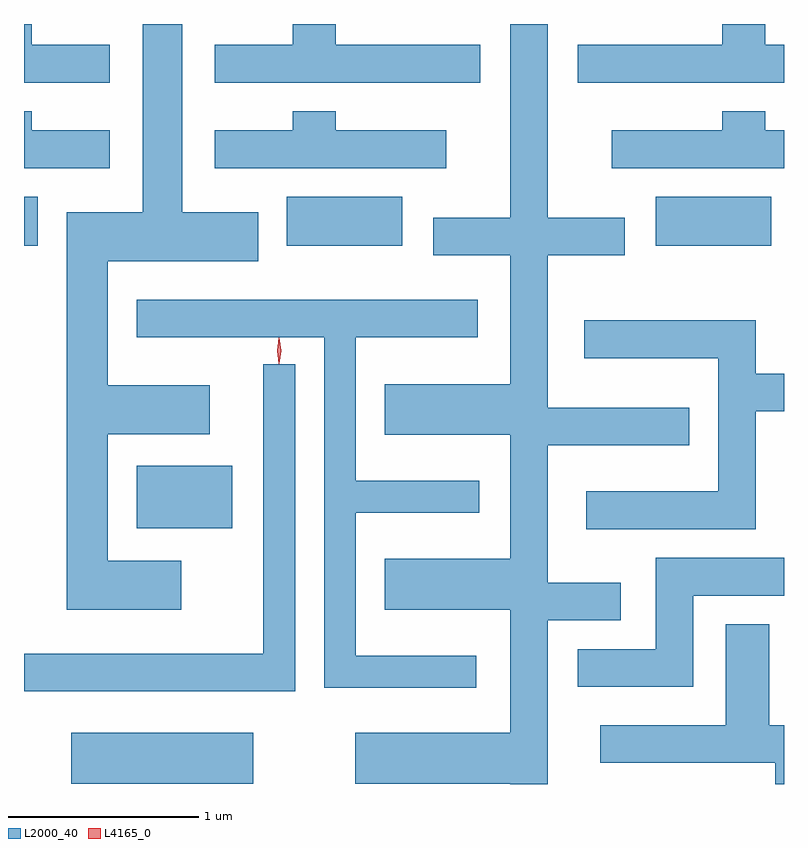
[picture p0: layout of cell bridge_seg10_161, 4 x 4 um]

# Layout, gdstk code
import gdstk
lib = gdstk.Library(unit=1e-6, precision=1e-09)
def R(c, l, rs):  # rectangles x0, y0, x1, y1
    for r in rs: c.add(gdstk.rectangle(r[:2], r[2:], *l))
def P(c, l, *ps):  # polygons
    for p in ps: c.add(gdstk.Polygon(p, *l))
L2000_40 = (2000, 40)
L4165_0 = (4165, 0)

bridge_seg10_161 = lib.new_cell('bridge_seg10_161')
R(bridge_seg10_161, L2000_40, [(1809.221,2139.966,1810.179,2140.234), (1809.566,2141.311,1810.069,2141.639), (1808.972,2142.796,1809.044,2143.054), (1810.356,2142.796,1810.964,2143.054), (1812.296,2142.796,1812.904,2143.054)])
P(bridge_seg10_161, L2000_40, [(1811.374,2143.854),(1810.614,2143.854),(1810.614,2143.964),(1810.386,2143.964),(1810.386,2143.854),(1809.976,2143.854),(1809.976,2143.656),(1811.374,2143.656)],
  [(1812.972,2143.854),(1812.874,2143.854),(1812.874,2143.964),(1812.646,2143.964),(1812.646,2143.854),(1811.886,2143.854),(1811.886,2143.656),(1812.972,2143.656)],
  [(1809.799,2141.139),(1809.414,2141.139),(1809.414,2141.806),(1809.949,2141.806),(1809.949,2142.064),(1809.414,2142.064),(1809.414,2142.716),(1810.204,2142.716),(1810.204,2142.974),(1809.804,2142.974),(1809.804,2143.964),(1809.596,2143.964),(1809.596,2142.974),(1809.196,2142.974),(1809.196,2140.881),(1809.799,2140.881)],
  [(1811.729,2140.826),(1812.114,2140.826),(1812.114,2141.024),(1811.729,2141.024),(1811.729,2141.746),(1812.474,2141.746),(1812.474,2141.944),(1811.729,2141.944),(1811.729,2142.746),(1812.134,2142.746),(1812.134,2142.944),(1811.729,2142.944),(1811.729,2143.964),(1811.531,2143.964),(1811.531,2142.944),(1811.126,2142.944),(1811.126,2142.746),(1811.531,2142.746),(1811.531,2142.069),(1810.871,2142.069),(1810.871,2141.801),(1811.531,2141.801),(1811.531,2141.149),(1810.871,2141.149),(1810.871,2140.881),(1811.531,2140.881),(1811.531,2140.234),(1810.716,2140.234),(1810.716,2139.966),(1811.531,2139.966),(1811.531,2139.964),(1811.729,2139.964)],
  [(1809.424,2143.854),(1809.014,2143.854),(1809.014,2143.964),(1808.972,2143.964),(1808.972,2143.656),(1809.424,2143.656)],
  [(1809.424,2143.404),(1809.014,2143.404),(1809.014,2143.504),(1808.972,2143.504),(1808.972,2143.206),(1809.424,2143.206)],
  [(1812.972,2143.404),(1812.874,2143.404),(1812.874,2143.504),(1812.646,2143.504),(1812.646,2143.404),(1812.066,2143.404),(1812.066,2143.206),(1812.972,2143.206)],
  [(1811.194,2143.404),(1810.614,2143.404),(1810.614,2143.504),(1810.386,2143.504),(1810.386,2143.404),(1809.976,2143.404),(1809.976,2143.206),(1811.194,2143.206)],
  [(1811.353,2140.639),(1810.719,2140.639),(1810.719,2141.391),(1811.368,2141.391),(1811.368,2141.559),(1810.719,2141.559),(1810.719,2142.316),(1811.359,2142.316),(1811.359,2142.514),(1809.566,2142.514),(1809.566,2142.316),(1810.551,2142.316),(1810.551,2140.471),(1811.353,2140.471)],
  [(1812.824,2141.926),(1812.972,2141.926),(1812.972,2142.124),(1812.824,2142.124),(1812.824,2142.404),(1811.921,2142.404),(1811.921,2142.206),(1812.626,2142.206),(1812.626,2141.504),(1811.931,2141.504),(1811.931,2141.306),(1812.824,2141.306)],
  [(1810.399,2142.173),(1810.231,2142.173),(1810.231,2140.649),(1808.972,2140.649),(1808.972,2140.451),(1810.399,2140.451)],
  [(1812.494,2140.956),(1812.972,2140.956),(1812.972,2141.154),(1812.296,2141.154),(1812.296,2140.674),(1811.886,2140.674),(1811.886,2140.476),(1812.494,2140.476)],
  [(1812.972,2140.274),(1812.894,2140.274),(1812.894,2140.804),(1812.666,2140.804),(1812.666,2140.274),(1812.006,2140.274),(1812.006,2140.076),(1812.926,2140.076),(1812.926,2139.964),(1812.972,2139.964)])
P(bridge_seg10_161, L4165_0, [(1810.315,2142.174),(1810.314,2142.175),(1810.305,2142.244),(1810.314,2142.313),(1810.315,2142.314),(1810.315,2142.313),(1810.325,2142.244),(1810.315,2142.175)],
  [(1810.314,2142.178),(1810.305,2142.244),(1810.315,2142.31),(1810.315,2142.311),(1810.316,2142.31),(1810.325,2142.244),(1810.315,2142.178),(1810.315,2142.178)])

lib.write_gds('bridge_seg10_161.gds')
